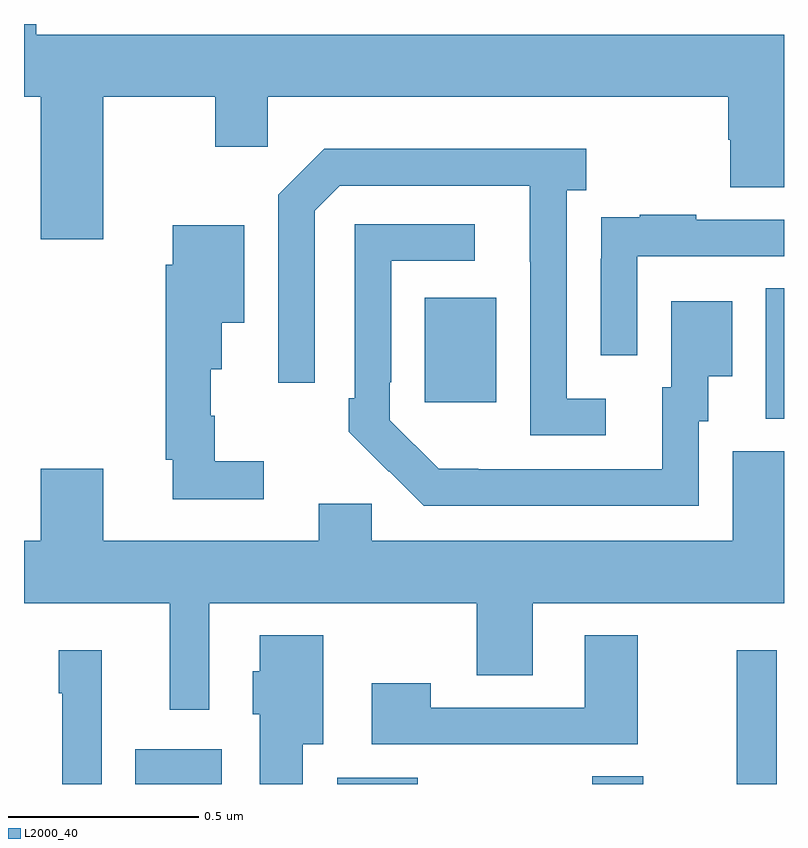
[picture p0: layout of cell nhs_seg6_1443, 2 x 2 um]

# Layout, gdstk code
import gdstk
lib = gdstk.Library(unit=1e-6, precision=1e-09)
def R(c, l, rs):  # rectangles x0, y0, x1, y1
    for r in rs: c.add(gdstk.rectangle(r[:2], r[2:], *l))
def P(c, l, *ps):  # polygons
    for p in ps: c.add(gdstk.Polygon(p, *l))
L2000_40 = (2000, 40)

nhs_seg6_1443 = lib.new_cell('nhs_seg6_1443')
R(nhs_seg6_1443, L2000_40, [(129.293,973.5,129.52,973.591), (129.824,973.5,130.036,973.516), (130.496,973.5,130.63,973.52), (130.875,973.5,130.981,973.852), (130.952,974.461,131,974.804), (130.055,974.505,130.243,974.779)])
P(nhs_seg6_1443, L2000_40, [(129.208,975.308),(129.503,975.308),(129.503,975.177),(129.642,975.177),(129.642,975.308),(130.853,975.308),(130.853,975.195),(130.858,975.195),(130.858,975.07),(131,975.07),(131,975.472),(129.032,975.472),(129.032,975.5),(129,975.5),(129,975.308),(129.044,975.308),(129.044,974.934),(129.208,974.934)],
  [(130.531,974.514),(130.428,974.514),(130.428,975.062),(130.48,975.062),(130.48,975.172),(129.79,975.172),(129.669,975.051),(129.669,974.556),(129.765,974.556),(129.765,975.009),(129.831,975.075),(130.331,975.075),(130.331,974.875),(130.332,974.875),(130.332,974.418),(130.531,974.418)],
  [(130.614,974.889),(131,974.889),(131,974.985),(130.769,974.985),(130.769,974.998),(130.621,974.998),(130.621,974.991),(130.519,974.991),(130.519,974.882),(130.518,974.882),(130.518,974.628),(130.614,974.628)],
  [(130.776,974.454),(130.801,974.454),(130.801,974.573),(130.864,974.573),(130.864,974.77),(130.703,974.77),(130.703,974.544),(130.679,974.544),(130.679,974.328),(130.195,974.328),(130.195,974.329),(130.092,974.329),(129.963,974.457),(129.963,974.557),(129.966,974.557),(129.966,974.877),(130.186,974.877),(130.186,974.973),(129.87,974.973),(129.87,974.515),(129.855,974.515),(129.855,974.427),(129.96,974.322),(129.961,974.323),(130.052,974.232),(130.776,974.232)],
  [(129.631,974.349),(129.502,974.349),(129.502,974.469),(129.491,974.469),(129.491,974.591),(129.52,974.591),(129.52,974.714),(129.58,974.714),(129.58,974.971),(129.392,974.971),(129.392,974.867),(129.373,974.867),(129.373,974.353),(129.392,974.353),(129.392,974.25),(129.631,974.25)],
  [(129.487,973.976),(130.192,973.976),(130.192,973.786),(130.339,973.786),(130.339,973.976),(131,973.976),(131,974.376),(130.865,974.376),(130.865,974.14),(129.915,974.14),(129.915,974.238),(129.776,974.238),(129.776,974.14),(129.208,974.14),(129.208,974.329),(129.044,974.329),(129.044,974.14),(129,974.14),(129,973.976),(129.383,973.976),(129.383,973.695),(129.487,973.695)],
  [(130.615,973.891),(130.475,973.891),(130.475,973.701),(130.071,973.701),(130.071,973.765),(129.915,973.765),(129.915,973.605),(130.615,973.605)],
  [(129.733,973.604),(129.787,973.604),(129.787,973.891),(129.62,973.891),(129.62,973.797),(129.602,973.797),(129.602,973.683),(129.62,973.683),(129.62,973.5),(129.733,973.5)],
  [(129.205,973.852),(129.091,973.852),(129.091,973.739),(129.101,973.739),(129.101,973.5),(129.205,973.5)])

lib.write_gds('nhs_seg6_1443.gds')
